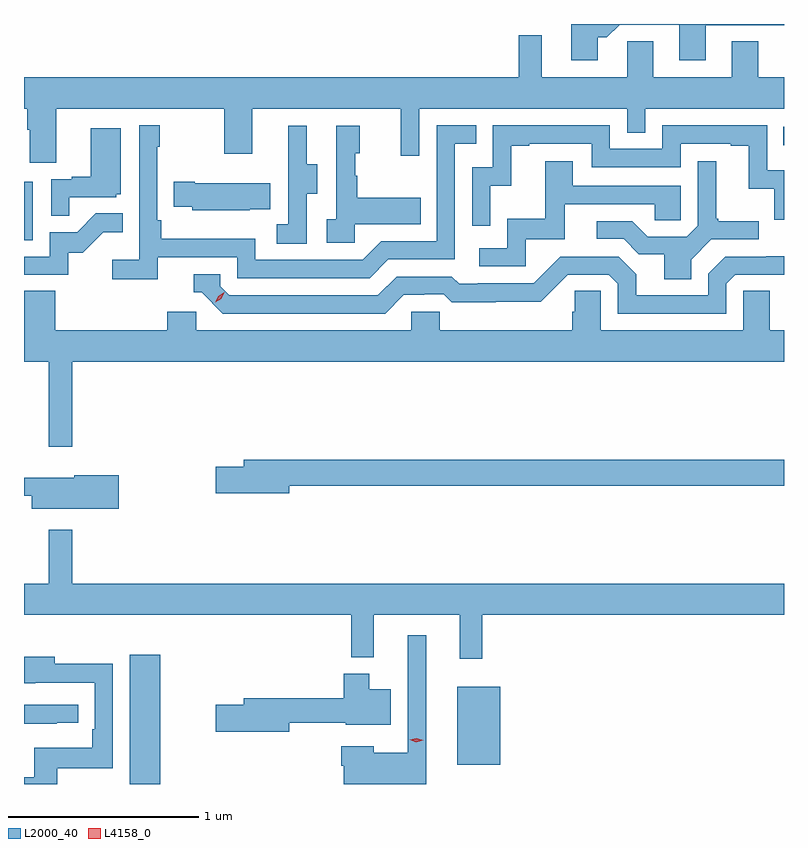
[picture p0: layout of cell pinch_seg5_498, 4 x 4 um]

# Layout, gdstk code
import gdstk
lib = gdstk.Library(unit=1e-6, precision=1e-09)
def R(c, l, rs):  # rectangles x0, y0, x1, y1
    for r in rs: c.add(gdstk.rectangle(r[:2], r[2:], *l))
def P(c, l, *ps):  # polygons
    for p in ps: c.add(gdstk.Polygon(p, *l))
L2000_40 = (2000, 40)
L4158_0 = (4158, 0)

pinch_seg5_498 = lib.new_cell('pinch_seg5_498')
R(pinch_seg5_498, L2000_40, [(903.035,850.541,903.196,851.221), (904.757,850.643,904.984,851.053), (902.478,853.404,902.524,853.711), (906.475,853.904,906.478,854.001)])
P(pinch_seg5_498, L2000_40, [(905.497,854.471),(905.546,854.471),(905.613,854.538),(905.927,854.538),(905.927,854.349),(906.067,854.349),(906.067,854.535),(906.478,854.535),(906.478,854.541),(905.357,854.541),(905.357,854.349),(905.497,854.349)],
  [(902.647,854.096),(903.532,854.096),(903.532,853.857),(903.679,853.857),(903.679,854.096),(904.46,854.096),(904.46,853.848),(904.557,853.848),(904.557,854.096),(905.652,854.096),(905.652,853.969),(905.748,853.969),(905.748,854.096),(906.478,854.096),(906.478,854.26),(906.343,854.26),(906.343,854.45),(906.203,854.45),(906.203,854.26),(905.791,854.26),(905.791,854.45),(905.652,854.45),(905.652,854.26),(905.203,854.26),(905.203,854.482),(905.082,854.482),(905.082,854.26),(902.478,854.26),(902.478,854.096),(902.495,854.096),(902.495,853.984),(902.507,853.984),(902.507,853.81),(902.647,853.81)],
  [(903.182,853.314),(903.6,853.314),(903.6,853.203),(904.297,853.203),(904.396,853.302),(904.746,853.302),(904.746,853.911),(904.859,853.911),(904.859,854.007),(904.65,854.007),(904.65,853.398),(904.359,853.398),(904.26,853.299),(903.696,853.299),(903.696,853.411),(903.2,853.411),(903.2,853.507),(903.18,853.507),(903.18,853.895),(903.193,853.895),(903.193,854.008),(903.084,854.008),(903.084,853.3),(902.943,853.3),(902.943,853.198),(903.182,853.198)],
  [(904.932,853.691),(905.042,853.691),(905.042,853.899),(905.137,853.899),(905.137,853.911),(905.466,853.911),(905.466,853.788),(905.934,853.788),(905.934,853.911),(906.197,853.911),(906.197,853.899),(906.293,853.899),(906.293,853.673),(906.426,853.673),(906.426,853.512),(906.478,853.512),(906.478,853.771),(906.39,853.771),(906.39,854.007),(905.838,854.007),(905.838,853.884),(905.562,853.884),(905.562,854.007),(904.944,854.007),(904.944,853.788),(904.836,853.788),(904.836,853.479),(904.932,853.479)],
  [(903.966,853.648),(904.021,853.648),(904.021,853.803),(903.967,853.803),(903.967,854.005),(903.869,854.005),(903.869,853.791),(903.87,853.791),(903.87,853.487),(903.807,853.487),(903.807,853.384),(903.966,853.384)],
  [(904.218,853.487),(904.565,853.487),(904.565,853.627),(904.231,853.627),(904.231,853.742),(904.221,853.742),(904.221,853.86),(904.246,853.86),(904.246,854.005),(904.122,854.005),(904.122,853.514),(904.071,853.514),(904.071,853.389),(904.218,853.389)],
  [(902.717,853.629),(902.964,853.629),(902.964,853.644),(902.986,853.644),(902.986,853.993),(902.828,853.993),(902.828,853.738),(902.729,853.738),(902.729,853.725),(902.622,853.725),(902.622,853.531),(902.717,853.531)],
  [(905.118,853.407),(905.323,853.407),(905.323,853.593),(905.797,853.593),(905.797,853.509),(905.934,853.509),(905.934,853.689),(905.365,853.689),(905.365,853.819),(905.221,853.819),(905.221,853.516),(905.022,853.516),(905.022,853.362),(904.875,853.362),(904.875,853.266),(905.118,853.266)],
  [(905.989,853.3),(906.096,853.407),(906.346,853.407),(906.346,853.504),(906.133,853.504),(906.133,853.516),(906.121,853.516),(906.121,853.819),(906.024,853.819),(906.024,853.479),(905.967,853.422),(905.761,853.422),(905.68,853.503),(905.493,853.503),(905.493,853.41),(905.634,853.41),(905.714,853.33),(905.849,853.33),(905.849,853.198),(905.989,853.198)],
  [(903.665,853.565),(903.773,853.565),(903.773,853.702),(903.376,853.702),(903.376,853.71),(903.265,853.71),(903.265,853.58),(903.363,853.58),(903.363,853.562),(903.665,853.562)],
  [(902.712,853.338),(902.788,853.338),(902.895,853.445),(902.999,853.445),(902.999,853.544),(902.855,853.544),(902.757,853.446),(902.613,853.446),(902.613,853.317),(902.478,853.317),(902.478,853.221),(902.712,853.221)],
  [(904.477,853.116),(904.584,853.116),(904.584,853.119),(904.687,853.119),(904.729,853.077),(904.962,853.077),(904.962,853.079),(905.198,853.079),(905.34,853.221),(905.556,853.221),(905.604,853.173),(905.604,853.017),(906.174,853.017),(906.174,853.173),(906.222,853.221),(906.478,853.221),(906.478,853.319),(906.384,853.319),(906.384,853.317),(906.168,853.317),(906.078,853.227),(906.078,853.113),(905.701,853.113),(905.701,853.223),(905.607,853.317),(905.301,853.317),(905.16,853.176),(904.867,853.176),(904.867,853.173),(904.768,853.173),(904.729,853.212),(904.44,853.212),(904.341,853.113),(903.558,853.113),(903.51,853.161),(903.51,853.224),(903.371,853.224),(903.371,853.128),(903.414,853.128),(903.525,853.017),(904.378,853.017)],
  [(902.731,852.764),(906.478,852.764),(906.478,852.928),(906.403,852.928),(906.403,853.136),(906.264,853.136),(906.264,852.928),(905.514,852.928),(905.514,853.136),(905.377,853.136),(905.377,853.026),(905.363,853.026),(905.363,852.928),(904.665,852.928),(904.665,853.026),(904.515,853.026),(904.515,852.928),(903.384,852.928),(903.384,853.026),(903.233,853.026),(903.233,852.928),(902.642,852.928),(902.642,853.136),(902.478,853.136),(902.478,852.764),(902.609,852.764),(902.609,852.315),(902.731,852.315)],
  [(903.874,852.112),(906.478,852.112),(906.478,852.248),(903.635,852.248),(903.635,852.212),(903.486,852.212),(903.486,852.07),(903.874,852.07)],
  [(902.977,852.167),(902.742,852.167),(902.742,852.154),(902.523,852.154),(902.523,852.153),(902.478,852.153),(902.478,852.057),(902.519,852.057),(902.519,851.989),(902.977,851.989)],
  [(904.889,851.432),(906.478,851.432),(906.478,851.596),(902.731,851.596),(902.731,851.878),(902.609,851.878),(902.609,851.596),(902.478,851.596),(902.478,851.432),(904.201,851.432),(904.201,851.207),(904.319,851.207),(904.319,851.432),(904.772,851.432),(904.772,851.199),(904.889,851.199)],
  [(904.594,851.323),(904.497,851.323),(904.497,850.705),(904.318,850.705),(904.318,850.741),(904.148,850.741),(904.148,850.637),(904.16,850.637),(904.16,850.541),(904.594,850.541)],
  [(902.653,850.623),(902.946,850.623),(902.946,851.174),(902.641,851.174),(902.641,851.212),(902.478,851.212),(902.478,851.072),(902.537,851.072),(902.537,851.073),(902.85,851.073),(902.85,850.828),(902.837,850.828),(902.837,850.732),(902.532,850.732),(902.532,850.577),(902.478,850.577),(902.478,850.541),(902.653,850.541)],
  [(903.874,850.864),(904.172,850.864),(904.172,850.853),(904.408,850.853),(904.408,851.041),(904.294,851.041),(904.294,851.122),(904.16,851.122),(904.16,850.993),(903.635,850.993),(903.635,850.959),(903.486,850.959),(903.486,850.817),(903.874,850.817)],
  [(902.651,850.863),(902.764,850.863),(902.764,850.959),(902.478,850.959),(902.478,850.858),(902.651,850.858)])
P(pinch_seg5_498, L4158_0, [(904.543,850.762),(904.508,850.774),(904.507,850.774),(904.508,850.774),(904.544,850.782),(904.579,850.771),(904.579,850.771),(904.579,850.771)],
  [(903.485,853.076),(903.485,853.076),(903.501,853.109),(903.532,853.129),(903.532,853.129),(903.532,853.128),(903.516,853.096),(903.485,853.076)])

lib.write_gds('pinch_seg5_498.gds')
